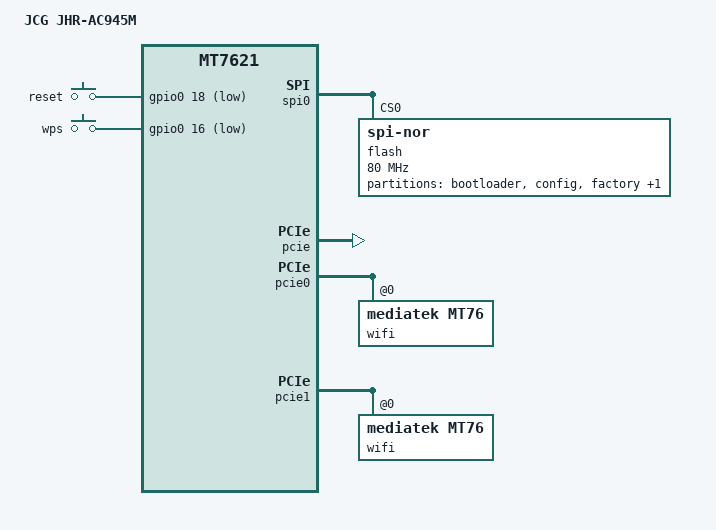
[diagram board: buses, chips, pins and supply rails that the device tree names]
// SPDX-License-Identifier: GPL-2.0-or-later OR MIT
/dts-v1/;

#include "mt7621.dtsi"

#include <dt-bindings/gpio/gpio.h>
#include <dt-bindings/input/input.h>

/ {
	compatible = "jcg,jhr-ac945m", "mediatek,mt7621-soc";
	model = "JCG JHR-AC945M";

	chosen {
		bootargs = "console=ttyS0,57600";
	};

	keys {
		compatible = "gpio-keys";

		reset {
			label = "reset";
			gpios = <&gpio0 18 GPIO_ACTIVE_LOW>;
			linux,code = <KEY_RESTART>;
		};

		wps {
			label = "wps";
			gpios = <&gpio0 16 GPIO_ACTIVE_LOW>;
			linux,code = <KEY_WPS_BUTTON>;
		};
	};
};

&spi0 {
	status = "okay";

	flash@0 {
		compatible = "jedec,spi-nor";
		reg = <0>;
		spi-max-frequency = <80000000>;
		m25p,fast-read;

		partitions {
			compatible = "fixed-partitions";
			#address-cells = <1>;
			#size-cells = <1>;

			partition@0 {
				label = "bootloader";
				reg = <0x0 0x30000>;
				read-only;
			};

			partition@30000 {
				label = "config";
				reg = <0x30000 0x10000>;
				read-only;
			};

			factory: partition@40000 {
				label = "factory";
				reg = <0x40000 0x10000>;
				read-only;
			};

			partition@50000 {
				compatible = "denx,uimage";
				label = "firmware";
				reg = <0x50000 0xfb0000>;
			};
		};
	};
};

&pcie {
	status = "okay";
};

&pcie0 {
	wifi@0,0 {
		compatible = "mediatek,mt76";
		reg = <0x0000 0 0 0 0>;
		mediatek,mtd-eeprom = <&factory 0x0>;
		ieee80211-freq-limit = <2400000 2500000>;
	};
};

&pcie1 {
	wifi@0,0 {
		compatible = "mediatek,mt76";
		reg = <0x0000 0 0 0 0>;
		mediatek,mtd-eeprom = <&factory 0x8000>;
		ieee80211-freq-limit = <5000000 6000000>;
	};
};

&ethernet {
	mtd-mac-address = <&factory 0xe000>;
};

&state_default {
	gpio {
		ralink,group = "jtag", "wdt";
		ralink,function = "gpio";
	};
};
